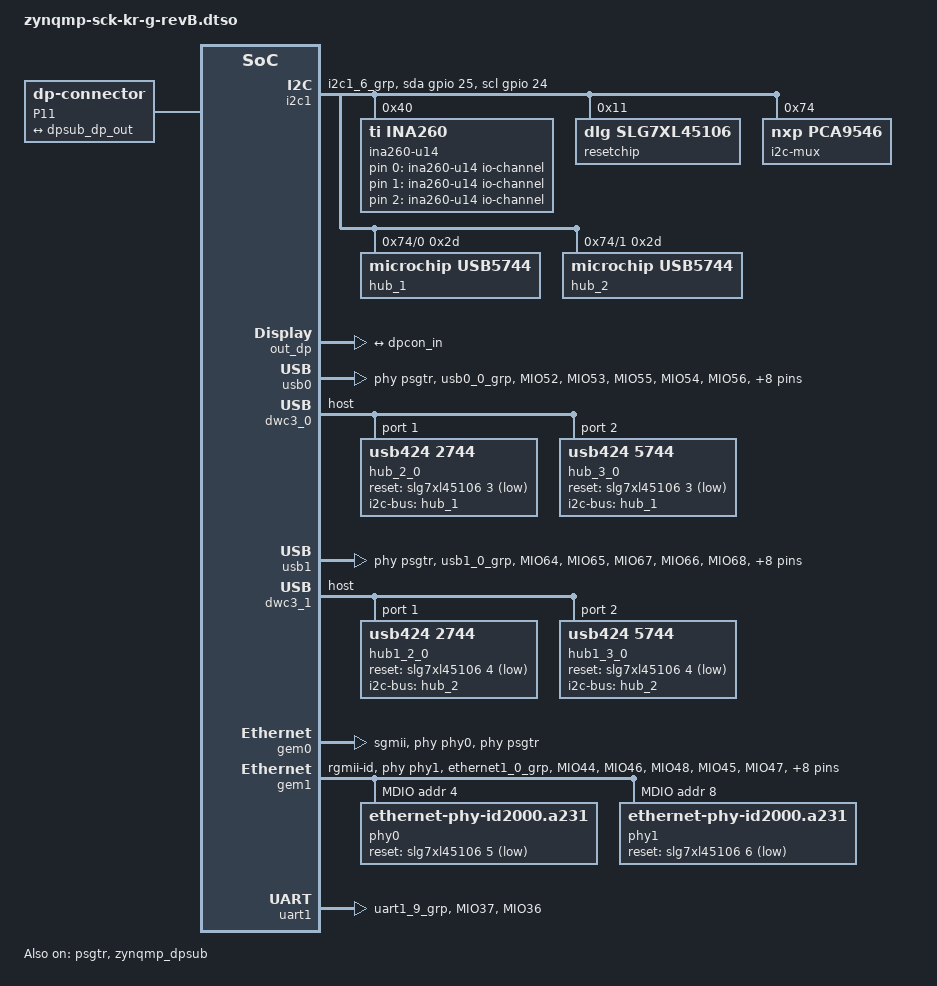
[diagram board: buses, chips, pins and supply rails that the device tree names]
// SPDX-License-Identifier: GPL-2.0
/*
 * dts file for KR260 revB Carrier Card (A03 revision)
 *
 * (C) Copyright 2021 - 2022, Xilinx, Inc.
 *
 * Michal Simek <michal.simek@amd.com>
 *
 * fpga-mister: copy of linux-xlnx arch/arm64/boot/dts/xilinx/zynqmp-sck-kr-g-revB.dtso
 * (xilinx-v2025.2) with the nodes of firmware/targets/_template/dts/mister.dtsi: DDR of the PL
 * reserved (reserved-memory, same physical addresses as on the Zybo). The kernel build puts it
 * into zynqmp-smk-k26-revA-sck-kr-g-revB.dtb (KERNEL_DTS_FILES). The PL clock does not come
 * from the PS (25 MHz carrier oscillator), so no clock needs to be kept on for it.
 */

#include <dt-bindings/gpio/gpio.h>
#include <dt-bindings/net/ti-dp83867.h>
#include <dt-bindings/phy/phy.h>
#include <dt-bindings/pinctrl/pinctrl-zynqmp.h>

/dts-v1/;
/plugin/;

&{/} {
	compatible = "xlnx,zynqmp-sk-kr260-revB",
		     "xlnx,zynqmp-sk-kr260", "xlnx,zynqmp";
	model = "ZynqMP KR260 revB";

	/*
	 * MiSTer (fpga-mister): 0x1FF0_0000-0x3FFF_FFFF belongs to the PL (AXI HP ports): SDRAM image
	 * of the cores at 0x3800_0000, ascal frame buffer 0x2000_0000, Linux frame buffer of
	 * Main_MiSTer 0x2200_0000, ROM load areas from 0x3000_0000, hand-over page 0x1FFF_F000
	 * (doc/ARCHITECTURE.md §2). Main_MiSTer maps it through /dev/mem. The node goes into
	 * reserved-memory of zynqmp.dtsi (2 cells), as on the ZCU106.
	 */
	reserved-memory {
		#address-cells = <2>;
		#size-cells = <2>;
		ranges;

		mister_pl_ddr: mister@1ff00000 {
			reg = <0x0 0x1ff00000 0x0 0x20100000>;
			no-map;
		};
	};

	aliases {
		ethernet0 = "/axi/ethernet@ff0b0000"; /* &gem0 */
		ethernet1 = "/axi/ethernet@ff0c0000"; /* &gem1 */
	};

	ina260-u14 {
		compatible = "iio-hwmon";
		io-channels = <&u14 0>, <&u14 1>, <&u14 2>;
	};

	clk_125: clock0 { /* u87 - GEM0/1 */
		compatible = "fixed-clock";
		#clock-cells = <0>;
		clock-frequency = <125000000>;
	};

	clk_27: clock1 { /* u86 - DP */
		compatible = "fixed-clock";
		#clock-cells = <0>;
		clock-frequency = <27000000>;
	};

	clk_26: clock2 { /* u89 - USB */
		compatible = "fixed-clock";
		#clock-cells = <0>;
		clock-frequency = <26000000>;
	};

	clk_156: clock3 { /* u90 - SFP+ */
		compatible = "fixed-clock";
		#clock-cells = <0>;
		clock-frequency = <156250000>;
	};

	clk_25_0: clock4 { /* u92/u91 - GEM2 */
		compatible = "fixed-clock";
		#clock-cells = <0>;
		clock-frequency = <25000000>;
	};

	clk_25_1: clock5 { /* u92/u91 - GEM3 */
		compatible = "fixed-clock";
		#clock-cells = <0>;
		clock-frequency = <25000000>;
	};

	clk_74: clock6 { /* u88 - SLVC-EC */
		compatible = "fixed-clock";
		#clock-cells = <0>;
		clock-frequency = <74250000>;
	};

	dpcon {
		compatible = "dp-connector";
		label = "P11";
		type = "full-size";

		port {
			dpcon_in: endpoint {
				remote-endpoint = <&dpsub_dp_out>;
			};
		};
	};
};

&i2c1 { /* I2C_SCK C26/C27 - MIO from SOM */
	#address-cells = <1>;
	#size-cells = <0>;
	pinctrl-names = "default", "gpio";
	pinctrl-0 = <&pinctrl_i2c1_default>;
	pinctrl-1 = <&pinctrl_i2c1_gpio>;
	scl-gpios = <&gpio 24 (GPIO_ACTIVE_HIGH | GPIO_OPEN_DRAIN)>;
	sda-gpios = <&gpio 25 (GPIO_ACTIVE_HIGH | GPIO_OPEN_DRAIN)>;

	u14: ina260@40 { /* u14 */
		compatible = "ti,ina260";
		#io-channel-cells = <1>;
		label = "ina260-u14";
		reg = <0x40>;
	};

	slg7xl45106: gpio@11 { /* u19 - reset logic */
		compatible = "dlg,slg7xl45106";
		reg = <0x11>;
		label = "resetchip";
		gpio-controller;
		#gpio-cells = <2>;
		gpio-line-names = "USB0_PHY_RESET_B", "USB1_PHY_RESET_B",
				  "SD_RESET_B", "USB0_HUB_RESET_B",
				  "USB1_HUB_RESET_B", "PS_GEM0_RESET_B",
				  "PS_GEM1_RESET_B", "";
	};

	i2c-mux@74 { /* u18 */
		compatible = "nxp,pca9546";
		#address-cells = <1>;
		#size-cells = <0>;
		reg = <0x74>;
		usbhub_i2c0: i2c@0 {
			#address-cells = <1>;
			#size-cells = <0>;
			reg = <0>;
			hub_1: usb-hub@2d {
				compatible = "microchip,usb5744";
				reg = <0x2d>;
			};
		};
		usbhub_i2c1: i2c@1 {
			#address-cells = <1>;
			#size-cells = <0>;
			reg = <1>;
			hub_2: usb-hub@2d {
				compatible = "microchip,usb5744";
				reg = <0x2d>;
			};
		};
		/* Bus 2/3 are not connected */
	};

	/* si5332@6a - u17 - clock-generator */
};

/* GEM SGMII/DP and USB 3.0 */
&psgtr {
	status = "okay";
	/* gem0/1, dp, usb */
	clocks = <&clk_125>, <&clk_27>, <&clk_26>;
	clock-names = "ref0", "ref1", "ref2";
};

&zynqmp_dpsub {
	status = "okay";
	phy-names = "dp-phy0";
	phys = <&psgtr 1 PHY_TYPE_DP 0 1>;
	assigned-clock-rates = <27000000>, <25000000>, <300000000>;
};

&out_dp {
	dpsub_dp_out: endpoint {
		remote-endpoint = <&dpcon_in>;
	};
};

&zynqmp_dpdma {
	status = "okay";
	assigned-clock-rates = <600000000>;
};

&usb0 { /* mio52 - mio63 */
	status = "okay";
	pinctrl-names = "default";
	pinctrl-0 = <&pinctrl_usb0_default>;
	phy-names = "usb3-phy";
	phys = <&psgtr 2 PHY_TYPE_USB3 0 2>;
	reset-gpios = <&slg7xl45106 0 GPIO_ACTIVE_LOW>;
	assigned-clock-rates = <250000000>, <20000000>;
};

&dwc3_0 {
	status = "okay";
	dr_mode = "host";
	snps,usb3_lpm_capable;
	maximum-speed = "super-speed";
	#address-cells = <1>;
	#size-cells = <0>;

	/* 2.0 hub on port 1 */
	hub_2_0: hub@1 {
		compatible = "usb424,2744";
		reg = <1>;
		peer-hub = <&hub_3_0>;
		i2c-bus = <&hub_1>;
		reset-gpios = <&slg7xl45106 3 GPIO_ACTIVE_LOW>;
	};

	/* 3.0 hub on port 2 */
	hub_3_0: hub@2 {
		compatible = "usb424,5744";
		reg = <2>;
		peer-hub = <&hub_2_0>;
		i2c-bus = <&hub_1>;
		reset-gpios = <&slg7xl45106 3 GPIO_ACTIVE_LOW>;
	};
};

&usb1 { /* mio64 - mio75 */
	status = "okay";
	pinctrl-names = "default";
	pinctrl-0 = <&pinctrl_usb1_default>;
	phy-names = "usb3-phy";
	phys = <&psgtr 3 PHY_TYPE_USB3 1 2>;
	reset-gpios = <&slg7xl45106 1 GPIO_ACTIVE_LOW>;
	assigned-clock-rates = <250000000>, <20000000>;
};

&dwc3_1 {
	status = "okay";
	dr_mode = "host";
	snps,usb3_lpm_capable;
	maximum-speed = "super-speed";
	#address-cells = <1>;
	#size-cells = <0>;

	/* 2.0 hub on port 1 */
	hub1_2_0: hub@1 {
		compatible = "usb424,2744";
		reg = <1>;
		peer-hub = <&hub1_3_0>;
		i2c-bus = <&hub_2>;
		reset-gpios = <&slg7xl45106 4 GPIO_ACTIVE_LOW>;
	};

	/* 3.0 hub on port 2 */
	hub1_3_0: hub@2 {
		compatible = "usb424,5744";
		reg = <2>;
		peer-hub = <&hub1_2_0>;
		i2c-bus = <&hub_2>;
		reset-gpios = <&slg7xl45106 4 GPIO_ACTIVE_LOW>;
	};
};

&gem0 { /* mdio mio50/51 */
	status = "okay";
	phys = <&psgtr 0 PHY_TYPE_SGMII 0 0>;
	phy-handle = <&phy0>;
	phy-mode = "sgmii";
	assigned-clock-rates = <250000000>;
};

&gem1 { /* mdio mio50/51, gem mio38 - mio49 */
	status = "okay";
	pinctrl-names = "default";
	pinctrl-0 = <&pinctrl_gem1_default>;
	phy-handle = <&phy1>;
	phy-mode = "rgmii-id";
	assigned-clock-rates = <250000000>;

	mdio: mdio {
		#address-cells = <1>;
		#size-cells = <0>;
		phy0: ethernet-phy@4 { /* u81 */
			#phy-cells = <1>;
			compatible = "ethernet-phy-id2000.a231";
			reg = <4>;
			ti,rx-internal-delay = <DP83867_RGMIIDCTL_2_25_NS>;
			ti,tx-internal-delay = <DP83867_RGMIIDCTL_2_75_NS>;
			ti,fifo-depth = <DP83867_PHYCR_FIFO_DEPTH_4_B_NIB>;
			ti,dp83867-rxctrl-strap-quirk;
			reset-assert-us = <300>;
			reset-deassert-us = <280>;
			reset-gpios = <&slg7xl45106 5 GPIO_ACTIVE_LOW>;
		};
		phy1: ethernet-phy@8 { /* u36 */
			#phy-cells = <1>;
			compatible = "ethernet-phy-id2000.a231";
			reg = <8>;
			ti,rx-internal-delay = <DP83867_RGMIIDCTL_2_25_NS>;
			ti,tx-internal-delay = <DP83867_RGMIIDCTL_2_75_NS>;
			ti,fifo-depth = <DP83867_PHYCR_FIFO_DEPTH_4_B_NIB>;
			ti,dp83867-rxctrl-strap-quirk;
			reset-assert-us = <100>;
			reset-deassert-us = <280>;
			reset-gpios = <&slg7xl45106 6 GPIO_ACTIVE_LOW>;
		};
	};
};

/* gem2/gem3 via PL with phys u79@2 and u80@3 */

&pinctrl0 {
	status = "okay";

	pinctrl_uart1_default: uart1-default {
		conf {
			groups = "uart1_9_grp";
			slew-rate = <SLEW_RATE_SLOW>;
			power-source = <IO_STANDARD_LVCMOS18>;
			drive-strength = <12>;
		};

		conf-rx {
			pins = "MIO37";
			bias-high-impedance;
		};

		conf-tx {
			pins = "MIO36";
			bias-disable;
			output-enable;
		};

		mux {
			groups = "uart1_9_grp";
			function = "uart1";
		};
	};

	pinctrl_i2c1_default: i2c1-default {
		conf {
			groups = "i2c1_6_grp";
			bias-pull-up;
			slew-rate = <SLEW_RATE_SLOW>;
			power-source = <IO_STANDARD_LVCMOS18>;
		};

		mux {
			groups = "i2c1_6_grp";
			function = "i2c1";
		};
	};

	pinctrl_i2c1_gpio: i2c1-gpio-grp {
		conf {
			groups = "gpio0_24_grp", "gpio0_25_grp";
			slew-rate = <SLEW_RATE_SLOW>;
			power-source = <IO_STANDARD_LVCMOS18>;
		};

		mux {
			groups = "gpio0_24_grp", "gpio0_25_grp";
			function = "gpio0";
		};
	};

	pinctrl_gem1_default: gem1-default {
		conf {
			groups = "ethernet1_0_grp";
			slew-rate = <SLEW_RATE_SLOW>;
			power-source = <IO_STANDARD_LVCMOS18>;
		};

		conf-rx {
			pins = "MIO44", "MIO46", "MIO48";
			bias-high-impedance;
			low-power-disable;
		};

		conf-bootstrap {
			pins = "MIO45", "MIO47", "MIO49";
			bias-disable;
			output-enable;
			low-power-disable;
		};

		conf-tx {
			pins = "MIO38", "MIO39", "MIO40",
				"MIO41", "MIO42", "MIO43";
			bias-disable;
			output-enable;
			low-power-enable;
		};

		conf-mdio {
			groups = "mdio1_0_grp";
			slew-rate = <SLEW_RATE_SLOW>;
			power-source = <IO_STANDARD_LVCMOS18>;
			bias-disable;
			output-enable;
		};

		mux-mdio {
			function = "mdio1";
			groups = "mdio1_0_grp";
		};

		mux {
			function = "ethernet1";
			groups = "ethernet1_0_grp";
		};
	};

	pinctrl_usb0_default: usb0-default {
		conf {
			groups = "usb0_0_grp";
			power-source = <IO_STANDARD_LVCMOS18>;
		};

		conf-rx {
			pins = "MIO52", "MIO53", "MIO55";
			bias-high-impedance;
			drive-strength = <12>;
			slew-rate = <SLEW_RATE_FAST>;
		};

		conf-tx {
			pins = "MIO54", "MIO56", "MIO57", "MIO58", "MIO59",
			"MIO60", "MIO61", "MIO62", "MIO63";
			bias-disable;
			output-enable;
			drive-strength = <4>;
			slew-rate = <SLEW_RATE_SLOW>;
		};

		mux {
			groups = "usb0_0_grp";
			function = "usb0";
		};
	};

	pinctrl_usb1_default: usb1-default {
		conf {
			groups = "usb1_0_grp";
			power-source = <IO_STANDARD_LVCMOS18>;
		};

		conf-rx {
			pins = "MIO64", "MIO65", "MIO67";
			bias-high-impedance;
			drive-strength = <12>;
			slew-rate = <SLEW_RATE_FAST>;
		};

		conf-tx {
			pins = "MIO66", "MIO68", "MIO69", "MIO70", "MIO71",
			"MIO72", "MIO73", "MIO74", "MIO75";
			bias-disable;
			output-enable;
			drive-strength = <4>;
			slew-rate = <SLEW_RATE_SLOW>;
		};

		mux {
			groups = "usb1_0_grp";
			function = "usb1";
		};
	};
};

&uart1 {
	status = "okay";
	pinctrl-names = "default";
	pinctrl-0 = <&pinctrl_uart1_default>;
};
